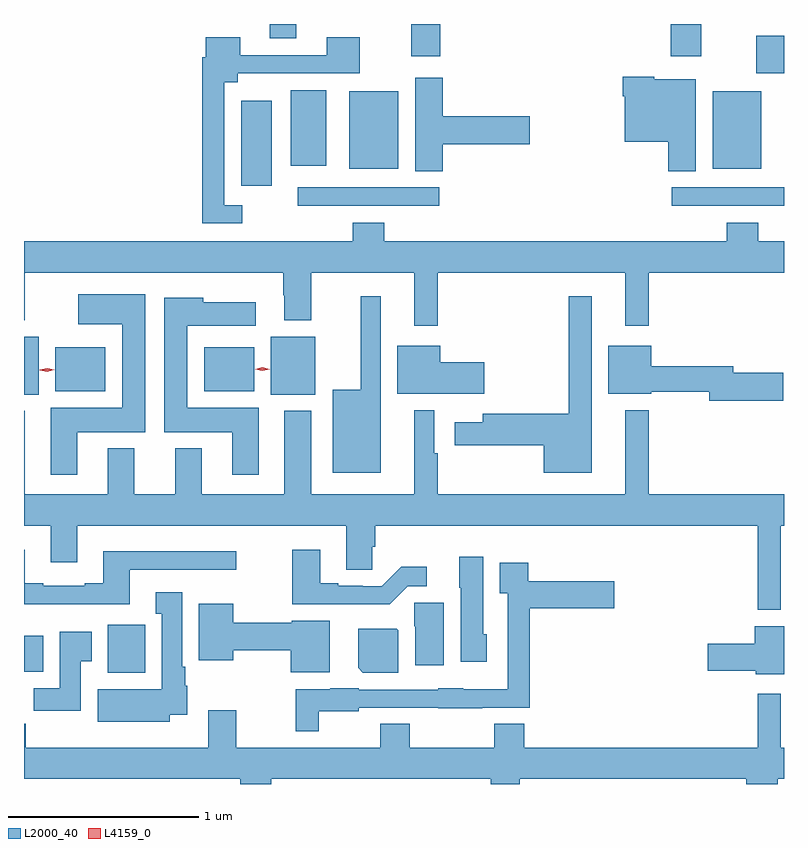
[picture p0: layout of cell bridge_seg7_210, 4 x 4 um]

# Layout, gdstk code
import gdstk
lib = gdstk.Library(unit=1e-6, precision=1e-09)
def R(c, l, rs):  # rectangles x0, y0, x1, y1
    for r in rs: c.add(gdstk.rectangle(r[:2], r[2:], *l))
def P(c, l, *ps):  # polygons
    for p in ps: c.add(gdstk.Polygon(p, *l))
L2000_40 = (2000, 40)
L4159_0 = (4159, 0)

bridge_seg7_210 = lib.new_cell('bridge_seg7_210')
R(bridge_seg7_210, L2000_40, [(225.893,1014.494,226.089,1014.745), (225.452,1014.5,225.553,1014.688), (225.452,1015.958,225.529,1016.263), (226.751,1015.958,226.984,1016.263), (225.617,1015.976,225.88,1016.206), (226.4,1015.976,226.663,1016.206), (226.893,1016.952,227.638,1017.048), (228.861,1016.952,229.452,1017.048), (226.595,1017.057,226.756,1017.505), (227.165,1017.146,227.422,1017.553), (229.076,1017.146,229.333,1017.553), (226.856,1017.161,227.044,1017.559), (229.306,1017.648,229.452,1017.847), (227.489,1017.738,227.642,1017.908), (228.857,1017.738,229.017,1017.908), (226.745,1017.833,226.885,1017.908)])
P(bridge_seg7_210, L2000_40, [(226.6,1016.955),(226.506,1016.955),(226.506,1017.602),(226.576,1017.602),(226.576,1017.648),(227.218,1017.648),(227.218,1017.838),(227.045,1017.838),(227.045,1017.744),(226.591,1017.744),(226.591,1017.838),(226.409,1017.838),(226.409,1017.734),(226.39,1017.734),(226.39,1016.859),(226.6,1016.859)],
  [(228.988,1017.616),(228.768,1017.616),(228.768,1017.631),(228.602,1017.631),(228.602,1017.527),(228.614,1017.527),(228.614,1017.287),(228.842,1017.287),(228.842,1017.133),(228.988,1017.133)],
  [(227.657,1017.275),(228.115,1017.275),(228.115,1017.422),(227.657,1017.422),(227.657,1017.625),(227.51,1017.625),(227.51,1017.133),(227.657,1017.133)],
  [(227.629,1016.6),(228.617,1016.6),(228.617,1016.319),(228.739,1016.319),(228.739,1016.6),(229.452,1016.6),(229.452,1016.764),(229.316,1016.764),(229.316,1016.863),(229.151,1016.863),(229.151,1016.764),(227.348,1016.764),(227.348,1016.863),(227.183,1016.863),(227.183,1016.764),(225.452,1016.764),(225.452,1016.348),(225.457,1016.348),(225.457,1016.6),(226.816,1016.6),(226.816,1016.48),(226.823,1016.48),(226.823,1016.348),(226.963,1016.348),(226.963,1016.6),(227.507,1016.6),(227.507,1016.319),(227.629,1016.319)],
  [(225.733,1015.76),(226.09,1015.76),(226.09,1016.485),(225.738,1016.485),(225.738,1016.327),(225.968,1016.327),(225.968,1015.888),(225.593,1015.888),(225.593,1015.536),(225.733,1015.536)],
  [(227.329,1016.476),(227.225,1016.476),(227.225,1015.984),(227.078,1015.984),(227.078,1015.547),(227.329,1015.547)],
  [(228.439,1016.476),(228.318,1016.476),(228.318,1016.151),(228.32,1016.151),(228.32,1015.856),(227.867,1015.856),(227.867,1015.813),(227.718,1015.813),(227.718,1015.691),(228.188,1015.691),(228.188,1015.547),(228.439,1015.547)],
  [(226.687,1015.888),(226.312,1015.888),(226.312,1016.321),(226.672,1016.321),(226.672,1016.443),(226.395,1016.443),(226.395,1016.467),(226.19,1016.467),(226.19,1015.76),(226.547,1015.76),(226.547,1015.536),(226.687,1015.536)],
  [(229.447,1016.072),(229.186,1016.072),(229.186,1016.108),(228.754,1016.108),(228.754,1016.215),(228.527,1016.215),(228.527,1015.961),(228.754,1015.961),(228.754,1015.972),(229.058,1015.972),(229.058,1015.925),(229.447,1015.925)],
  [(227.875,1016.127),(227.644,1016.127),(227.644,1016.215),(227.417,1016.215),(227.417,1015.961),(227.875,1015.961)],
  [(229.435,1015.268),(229.452,1015.268),(229.452,1015.432),(228.739,1015.432),(228.739,1015.876),(228.617,1015.876),(228.617,1015.432),(227.629,1015.432),(227.629,1015.649),(227.611,1015.649),(227.611,1015.876),(227.507,1015.876),(227.507,1015.432),(226.963,1015.432),(226.963,1015.873),(226.823,1015.873),(226.823,1015.432),(226.387,1015.432),(226.387,1015.675),(226.247,1015.675),(226.247,1015.432),(226.033,1015.432),(226.033,1015.675),(225.893,1015.675),(225.893,1015.432),(225.457,1015.432),(225.457,1015.873),(225.452,1015.873),(225.452,1015.268),(225.593,1015.268),(225.593,1015.074),(225.733,1015.074),(225.733,1015.268),(227.147,1015.268),(227.147,1015.036),(227.286,1015.036),(227.286,1015.158),(227.3,1015.158),(227.3,1015.268),(229.314,1015.268),(229.314,1014.824),(229.435,1014.824)],
  [(226.009,1015.035),(226.57,1015.035),(226.57,1015.132),(225.869,1015.132),(225.869,1014.964),(225.773,1014.964),(225.773,1014.951),(225.553,1014.951),(225.553,1014.964),(225.457,1014.964),(225.457,1015.141),(225.452,1015.141),(225.452,1014.854),(226.009,1014.854)],
  [(227.472,1014.948),(227.572,1014.948),(227.572,1015.051),(227.437,1015.051),(227.334,1014.948),(227.234,1014.948),(227.234,1014.951),(227.107,1014.951),(227.107,1014.964),(227.011,1014.964),(227.011,1015.141),(226.864,1015.141),(226.864,1014.854),(227.377,1014.854)],
  [(227.887,1014.696),(227.869,1014.696),(227.869,1015.105),(227.744,1015.105),(227.744,1014.942),(227.75,1014.942),(227.75,1014.552),(227.887,1014.552)],
  [(227.002,1014.29),(227.214,1014.29),(227.214,1014.309),(227.631,1014.309),(227.631,1014.308),(227.863,1014.308),(227.863,1014.309),(228.113,1014.309),(228.113,1014.833),(228.559,1014.833),(228.559,1014.975),(228.106,1014.975),(228.106,1015.072),(227.957,1015.072),(227.957,1014.911),(227.997,1014.911),(227.997,1014.406),(227.763,1014.406),(227.763,1014.412),(227.631,1014.412),(227.631,1014.405),(227.214,1014.405),(227.214,1014.412),(227.064,1014.412),(227.064,1014.406),(226.881,1014.406),(226.881,1014.185),(227.002,1014.185)],
  [(226.219,1014.272),(226.312,1014.272),(226.312,1014.426),(226.3,1014.426),(226.3,1014.526),(226.285,1014.526),(226.285,1014.916),(226.145,1014.916),(226.145,1014.803),(226.178,1014.803),(226.178,1014.406),(225.839,1014.406),(225.839,1014.236),(226.219,1014.236)],
  [(227.662,1014.861),(227.506,1014.861),(227.506,1014.738),(227.51,1014.738),(227.51,1014.534),(227.662,1014.534)],
  [(227.062,1014.766),(226.86,1014.766),(226.86,1014.758),(226.552,1014.758),(226.552,1014.856),(226.373,1014.856),(226.373,1014.56),(226.552,1014.56),(226.552,1014.611),(226.856,1014.611),(226.856,1014.497),(227.062,1014.497)],
  [(229.452,1014.739),(229.298,1014.739),(229.298,1014.647),(229.05,1014.647),(229.05,1014.505),(229.302,1014.505),(229.302,1014.485),(229.452,1014.485)],
  [(227.422,1014.716),(227.414,1014.724),(227.21,1014.724),(227.21,1014.52),(227.236,1014.494),(227.422,1014.494)],
  [(225.751,1014.553),(225.808,1014.553),(225.808,1014.709),(225.641,1014.709),(225.641,1014.412),(225.502,1014.412),(225.502,1014.294),(225.751,1014.294)],
  [(226.754,1013.936),(227.909,1013.936),(227.909,1013.908),(228.062,1013.908),(228.062,1013.936),(229.253,1013.936),(229.253,1013.908),(229.418,1013.908),(229.418,1013.936),(229.452,1013.936),(229.452,1014.1),(229.435,1014.1),(229.435,1014.382),(229.314,1014.382),(229.314,1014.1),(228.086,1014.1),(228.086,1014.224),(227.926,1014.224),(227.926,1014.1),(227.481,1014.1),(227.481,1014.224),(227.326,1014.224),(227.326,1014.1),(226.569,1014.1),(226.569,1014.295),(226.421,1014.295),(226.421,1014.1),(225.461,1014.1),(225.461,1014.224),(225.452,1014.224),(225.452,1013.936),(226.589,1013.936),(226.589,1013.908),(226.754,1013.908)])
P(bridge_seg7_210, L4159_0, [(225.574,1016.077),(225.535,1016.086),(225.535,1016.087),(225.535,1016.087),(225.574,1016.097),(225.612,1016.087),(225.612,1016.087),(225.612,1016.087)],
  [(226.706,1016.082),(226.668,1016.092),(226.668,1016.092),(226.668,1016.092),(226.706,1016.102),(226.745,1016.092),(226.745,1016.092),(226.745,1016.092)])

lib.write_gds('bridge_seg7_210.gds')
